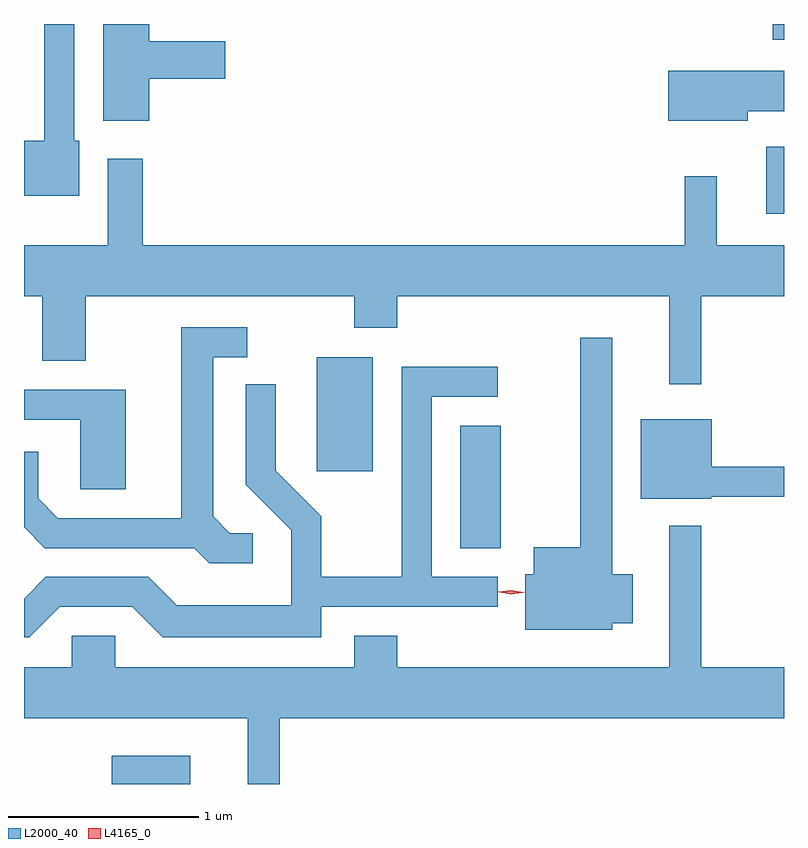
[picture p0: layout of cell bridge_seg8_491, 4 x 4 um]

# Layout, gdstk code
import gdstk
lib = gdstk.Library(unit=1e-6, precision=1e-09)
def R(c, l, rs):  # rectangles x0, y0, x1, y1
    for r in rs: c.add(gdstk.rectangle(r[:2], r[2:], *l))
def P(c, l, *ps):  # polygons
    for p in ps: c.add(gdstk.Polygon(p, *l))
L2000_40 = (2000, 40)
L4165_0 = (4165, 0)

bridge_seg8_491 = lib.new_cell('bridge_seg8_491')
R(bridge_seg8_491, L2000_40, [(337.766,1896.009,338.179,1896.159), (339.601,1897.251,339.814,1897.894), (338.846,1897.656,339.139,1898.254), (341.211,1899.011,341.304,1899.364), (341.246,1899.926,341.304,1900.009)])
P(bridge_seg8_491, L2000_40, [(337.594,1899.394),(337.569,1899.394),(337.569,1900.009),(337.411,1900.009),(337.411,1899.394),(337.304,1899.394),(337.304,1899.106),(337.594,1899.106)],
  [(337.964,1899.721),(338.364,1899.721),(338.364,1899.919),(337.964,1899.919),(337.964,1900.009),(337.721,1900.009),(337.721,1899.501),(337.964,1899.501)],
  [(341.114,1899.551),(341.304,1899.551),(341.304,1899.764),(340.696,1899.764),(340.696,1899.501),(341.114,1899.501)],
  [(337.929,1899.299),(337.746,1899.299),(337.746,1898.844),(337.304,1898.844),(337.304,1898.576),(337.401,1898.576),(337.401,1898.236),(337.629,1898.236),(337.629,1898.576),(339.041,1898.576),(339.041,1898.411),(339.269,1898.411),(339.269,1898.576),(340.701,1898.576),(340.701,1898.113),(340.869,1898.113),(340.869,1898.576),(341.304,1898.576),(341.304,1898.844),(340.949,1898.844),(340.949,1899.208),(340.781,1899.208),(340.781,1898.844),(337.929,1898.844)],
  [(338.508,1897.329),(338.387,1897.329),(338.299,1897.417),(338.299,1898.256),(338.478,1898.256),(338.478,1898.414),(338.131,1898.414),(338.131,1897.409),(337.482,1897.409),(337.379,1897.512),(337.379,1897.758),(337.304,1897.758),(337.304,1897.361),(337.414,1897.251),(338.199,1897.251),(338.279,1897.171),(338.508,1897.171)],
  [(340.399,1896.856),(340.509,1896.856),(340.509,1897.114),(340.399,1897.114),(340.399,1898.358),(340.231,1898.358),(340.231,1897.254),(339.986,1897.254),(339.986,1897.114),(339.941,1897.114),(339.941,1896.821),(340.399,1896.821)],
  [(337.492,1896.941),(337.874,1896.941),(338.034,1896.781),(338.869,1896.781),(338.869,1896.941),(339.798,1896.941),(339.798,1897.099),(339.449,1897.099),(339.449,1898.046),(339.798,1898.046),(339.798,1898.204),(339.291,1898.204),(339.291,1897.099),(338.869,1897.099),(338.869,1897.417),(338.629,1897.657),(338.629,1898.113),(338.471,1898.113),(338.471,1897.584),(338.711,1897.344),(338.711,1896.949),(338.107,1896.949),(337.957,1897.099),(337.419,1897.099),(337.304,1896.984),(337.304,1896.781),(337.332,1896.781)],
  [(337.839,1898.084),(337.304,1898.084),(337.304,1897.926),(337.601,1897.926),(337.601,1897.561),(337.839,1897.561)],
  [(340.92,1897.521),(341.304,1897.521),(341.304,1897.679),(340.924,1897.679),(340.924,1897.929),(340.551,1897.929),(340.551,1897.511),(340.92,1897.511)],
  [(338.649,1896.356),(341.304,1896.356),(341.304,1896.624),(340.869,1896.624),(340.869,1897.368),(340.701,1897.368),(340.701,1896.624),(339.269,1896.624),(339.269,1896.789),(339.041,1896.789),(339.041,1896.624),(337.784,1896.624),(337.784,1896.789),(337.556,1896.789),(337.556,1896.624),(337.304,1896.624),(337.304,1896.356),(338.481,1896.356),(338.481,1896.009),(338.649,1896.009)])
P(bridge_seg8_491, L4165_0, [(339.868,1897.009),(339.8,1897.02),(339.8,1897.02),(339.8,1897.02),(339.868,1897.029),(339.935,1897.018),(339.936,1897.018),(339.935,1897.017)],
  [(339.866,1897.007),(339.804,1897.018),(339.803,1897.018),(339.804,1897.019),(339.867,1897.027),(339.93,1897.016),(339.93,1897.016),(339.93,1897.015)])

lib.write_gds('bridge_seg8_491.gds')
